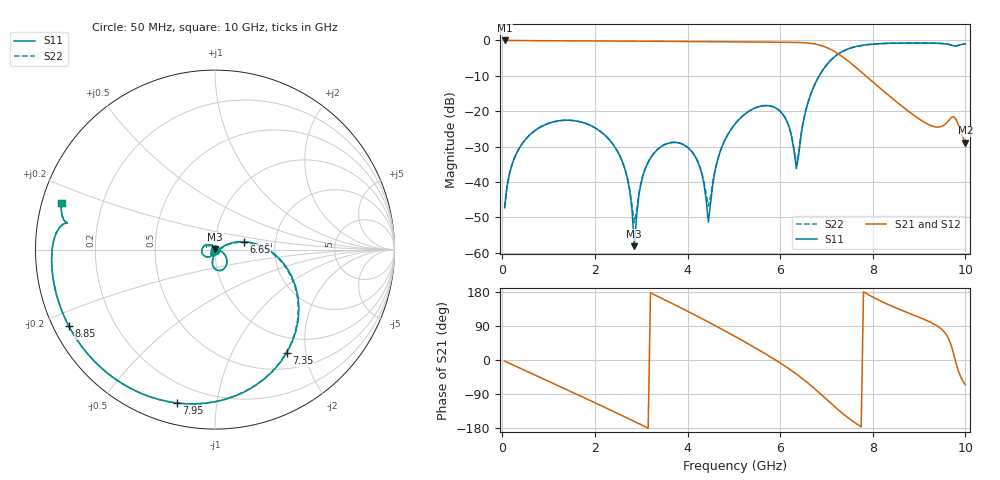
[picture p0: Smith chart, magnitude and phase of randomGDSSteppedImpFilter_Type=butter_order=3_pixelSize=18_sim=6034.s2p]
! freq	dB(S11)	phase(S11)	dB(S12)	phase(S12)
!  dB(S21)	phase(S21)	dB(S22)	phase(S22)
!S-par simulation data
#  GHz  S  DB  R 50
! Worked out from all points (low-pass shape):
!   200 points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, 50 MHz to 10 GHz, reference 50 ohm
!   highest |S21| = -0.01 dB at 50 MHz (marker M1); lowest = -28.9 dB at 10 GHz (marker M2)
!   |S21| within 3 dB of the highest: start of sweep to 7.158 GHz
!   lowest |S11| = -58.1 dB at 2.85 GHz (marker M3), VSWR 1.00, Z = 50.1 + j0.0559 ohm
!   |S11| at or under -10 dB: start of sweep to 6.843 GHz
!   |S22| runs from -51.5 to -0.7 dB; largest |S21 - S12| = 0
!   S11 on the Smith chart (normalised r, x): 50 MHz: 1.00, -0.01; 6.65 GHz: 1.37, +0.13; 7.35 GHz: 0.73, -1.66; 7.95 GHz: 0.10, -0.78; 8.85 GHz: 0.04, -0.25; 10 GHz: 0.06, +0.15
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0.05  -47.28 -86.7  -0.01 -2.9  -0.01 -2.9  -47.19 -87.4
0.2  -35.50 -100.1  -0.02 -11.3  -0.02 -11.3  -35.50 -100.1
0.55  -27.24 -121.2  -0.05 -31.0  -0.05 -31.0  -27.24 -121.3
1.75  -23.23 170.3  -0.14 -98.5  -0.14 -98.5  -23.23 169.7
2.6  -34.52 119.5  -0.18 -147.4  -0.18 -147.4  -34.49 115.4
2.75  -42.27 106.4  -0.19 -156.2  -0.19 -156.2  -41.97 95.5
2.85  -58.10 26.7  -0.20 -162.0  -0.20 -162.0  -51.48 23.2
3  -40.09 -75.4  -0.21 -170.9  -0.21 -170.9  -39.79 -66.1
3.4  -30.29 -102.6  -0.25 165.3  -0.25 165.3  -30.24 -99.1
4.15  -32.48 -145.3  -0.31 119.3  -0.31 119.3  -32.38 -140.5
4.45  -51.32 -90.1  -0.32 100.2  -0.32 100.2  -46.78 -86.1
4.65  -33.73 -10.0  -0.34 87.3  -0.34 87.3  -33.59 -14.9
5.05  -23.20 -31.0  -0.39 60.6  -0.39 60.6  -23.19 -32.1
5.95  -19.45 -90.8  -0.51 -3.9  -0.51 -3.9  -19.43 -90.3
6.35  -36.19 -53.6  -0.56 -37.0  -0.56 -37.0  -34.92 -52.1
6.65  -15.59 15.6  -0.81 -65.8  -0.81 -65.8  -15.57 14.2
6.7  -13.87 11.4  -0.90 -70.9  -0.90 -70.9  -13.86 10.2
7.35  -3.08 -55.4  -4.64 -141.3  -4.64 -141.3  -3.08 -55.8
7.95  -1.10 -104.1  -11.15 169.4  -11.15 169.4  -1.10 -104.4
8.35  -0.81 -127.8  -15.60 145.5  -15.60 145.5  -0.81 -128.0
8.85  -0.73 -152.3  -20.78 120.1  -20.78 120.1  -0.73 -152.5
10  -0.98 163.3  -28.91 -65.3  -28.91 -65.3  -0.98 163.2
